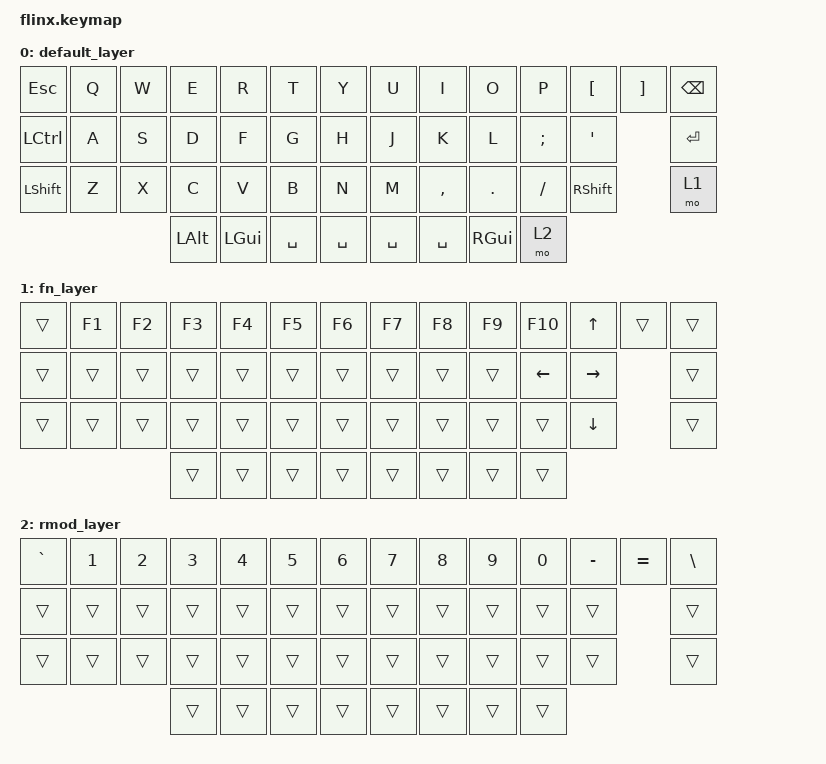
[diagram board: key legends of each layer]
#include <behaviors.dtsi>
#include <dt-bindings/zmk/keys.h>

/ {
    keymap {
        compatible = "zmk,keymap";

        default_layer {
            bindings = <
                &kp ESC &kp Q  &kp W  &kp E  &kp R  &kp T  &kp Y  &kp U  &kp I  &kp O  &kp P  &kp LBKT &kp RBKT &kp BSPC
                &kp LCTRL &kp A  &kp S  &kp D  &kp F  &kp G  &kp H  &kp J  &kp K     &kp L   &kp SEMI &kp SQT    &kp RET
                &kp LSHFT &kp Z  &kp X  &kp C  &kp V  &kp B  &kp N  &kp M  &kp COMMA &kp DOT &kp FSLH &kp RSHFT    &mo 1
                             &kp LALT &kp LGUI &kp SPACE &kp SPACE &kp SPACE &kp SPACE &kp RGUI &mo 2
            >;
        };

        fn_layer {
            bindings = <
                &trans &kp F1 &kp F2 &kp F3 &kp F4 &kp F5 &kp F6 &kp F7 &kp F8 &kp F9 &kp F10 &kp UP &trans &trans
                &trans &trans &trans &trans &trans &trans &trans &trans &trans &trans &kp LEFT &kp RIGHT    &trans
                &trans &trans &trans &trans &trans &trans &trans &trans &trans &trans &trans   &kp DOWN     &trans
                                   &trans &trans &trans &trans &trans &trans &trans &trans
            >;
        };

        rmod_layer {
          bindings = <
              &kp GRAVE &kp N1 &kp N2 &kp N3 &kp N4 &kp N5 &kp N6 &kp N7 &kp N8 &kp N9 &kp N0 &kp MINUS &kp EQUAL &kp BSLH
                       &trans &trans &trans &trans &trans &trans &trans &trans &trans &trans &trans &trans &trans
                       &trans &trans &trans &trans &trans &trans &trans &trans &trans &trans &trans &trans &trans
                                         &trans &trans &trans &trans &trans &trans &trans &trans
          >;
        };
    };
 };
